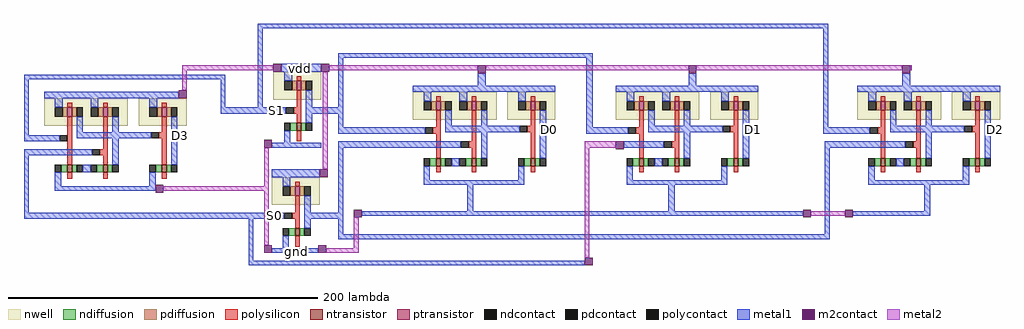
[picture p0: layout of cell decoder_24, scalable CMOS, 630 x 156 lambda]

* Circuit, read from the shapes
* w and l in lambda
.subckt decoder_24 D0 D1 D2 D3 S0 S1 gnd vdd
M1 n1 S1 gnd VSUBS nfet w=5 l=3
M2 n2 S0 n1 VSUBS nfet w=5 l=3
M3 D3 n2 gnd VSUBS nfet w=5 l=3
M4 n3 S0 gnd VSUBS nfet w=5 l=3
M5 n4 S1 gnd VSUBS nfet w=5 l=3
M6 n5 n4 gnd VSUBS nfet w=5 l=3
M7 n6 n3 n5 VSUBS nfet w=5 l=3
M8 D0 n6 gnd VSUBS nfet w=5 l=3
M9 n7 n4 gnd VSUBS nfet w=5 l=3
M10 n8 S0 n7 VSUBS nfet w=5 l=3
M11 D1 n8 gnd VSUBS nfet w=5 l=3
M12 n9 S1 gnd VSUBS nfet w=5 l=3
M13 n10 n3 n9 VSUBS nfet w=5 l=3
M14 D2 n10 gnd VSUBS nfet w=5 l=3
M15 n2 S1 vdd n11 pfet w=6 l=3
M16 n2 S0 vdd n11 pfet w=6 l=3
M17 D3 n2 vdd n12 pfet w=6 l=3
M18 n3 S0 vdd n13 pfet w=6 l=3
M19 n4 S1 vdd n14 pfet w=6 l=3
M20 n6 n4 vdd n15 pfet w=6 l=3
M21 n6 n3 vdd n15 pfet w=6 l=3
M22 D0 n6 vdd n16 pfet w=6 l=3
M23 n8 n4 vdd n17 pfet w=6 l=3
M24 n8 S0 vdd n17 pfet w=6 l=3
M25 D1 n8 vdd n18 pfet w=6 l=3
M26 n10 S1 vdd n19 pfet w=6 l=3
M27 n10 n3 vdd n19 pfet w=6 l=3
M28 D2 n10 vdd n20 pfet w=6 l=3
.ends

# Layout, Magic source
magic
tech scmos
<< nwell >>
rect 174 157 228 175
rect 235 157 266 175
rect 322 174 353 192
rect 412 161 466 179
rect 473 161 504 179
rect 543 161 597 179
rect 604 161 635 179
rect 699 161 753 179
rect 760 161 791 179
rect 321 106 352 124
<< ntransistor >>
rect 337 154 340 159
rect 189 127 192 132
rect 212 127 215 132
rect 250 127 253 132
rect 427 131 430 136
rect 450 131 453 136
rect 488 131 491 136
rect 558 131 561 136
rect 581 131 584 136
rect 619 131 622 136
rect 714 131 717 136
rect 737 131 740 136
rect 775 131 778 136
rect 336 86 339 91
<< ptransistor >>
rect 337 180 340 186
rect 189 163 192 169
rect 212 163 215 169
rect 250 163 253 169
rect 427 167 430 173
rect 450 167 453 173
rect 488 167 491 173
rect 558 167 561 173
rect 581 167 584 173
rect 619 167 622 173
rect 714 167 717 173
rect 737 167 740 173
rect 775 167 778 173
rect 336 112 339 118
<< ndiffusion >>
rect 333 154 337 159
rect 340 154 343 159
rect 185 127 189 132
rect 192 127 195 132
rect 208 127 212 132
rect 215 127 218 132
rect 246 127 250 132
rect 253 127 256 132
rect 423 131 427 136
rect 430 131 433 136
rect 446 131 450 136
rect 453 131 456 136
rect 484 131 488 136
rect 491 131 494 136
rect 554 131 558 136
rect 561 131 564 136
rect 577 131 581 136
rect 584 131 587 136
rect 615 131 619 136
rect 622 131 625 136
rect 710 131 714 136
rect 717 131 720 136
rect 733 131 737 136
rect 740 131 743 136
rect 771 131 775 136
rect 778 131 781 136
rect 332 86 336 91
rect 339 86 342 91
<< pdiffusion >>
rect 334 180 337 186
rect 340 180 343 186
rect 186 163 189 169
rect 192 163 195 169
rect 209 163 212 169
rect 215 163 218 169
rect 247 163 250 169
rect 253 163 256 169
rect 424 167 427 173
rect 430 167 433 173
rect 447 167 450 173
rect 453 167 456 173
rect 485 167 488 173
rect 491 167 494 173
rect 555 167 558 173
rect 561 167 564 173
rect 578 167 581 173
rect 584 167 587 173
rect 616 167 619 173
rect 622 167 625 173
rect 711 167 714 173
rect 717 167 720 173
rect 734 167 737 173
rect 740 167 743 173
rect 772 167 775 173
rect 778 167 781 173
rect 333 112 336 118
rect 339 112 342 118
<< ndcontact >>
rect 329 154 333 159
rect 343 154 347 159
rect 181 127 185 132
rect 195 127 199 132
rect 204 127 208 132
rect 218 127 222 132
rect 242 127 246 132
rect 256 127 260 132
rect 419 131 423 136
rect 433 131 437 136
rect 442 131 446 136
rect 456 131 460 136
rect 480 131 484 136
rect 494 131 498 136
rect 550 131 554 136
rect 564 131 568 136
rect 573 131 577 136
rect 587 131 591 136
rect 611 131 615 136
rect 625 131 629 136
rect 706 131 710 136
rect 720 131 724 136
rect 729 131 733 136
rect 743 131 747 136
rect 767 131 771 136
rect 781 131 785 136
rect 328 86 332 91
rect 342 86 346 91
<< pdcontact >>
rect 329 180 334 186
rect 343 180 347 186
rect 181 163 186 169
rect 195 163 199 169
rect 204 163 209 169
rect 218 163 222 169
rect 242 163 247 169
rect 256 163 260 169
rect 419 167 424 173
rect 433 167 437 173
rect 442 167 447 173
rect 456 167 460 173
rect 480 167 485 173
rect 494 167 498 173
rect 550 167 555 173
rect 564 167 568 173
rect 573 167 578 173
rect 587 167 591 173
rect 611 167 616 173
rect 625 167 629 173
rect 706 167 711 173
rect 720 167 724 173
rect 729 167 734 173
rect 743 167 747 173
rect 767 167 772 173
rect 781 167 785 173
rect 328 112 333 118
rect 342 112 346 118
<< polysilicon >>
rect 337 186 340 189
rect 189 169 192 172
rect 212 169 215 172
rect 250 169 253 172
rect 337 169 340 180
rect 427 173 430 176
rect 450 173 453 176
rect 488 173 491 176
rect 558 173 561 176
rect 581 173 584 176
rect 619 173 622 176
rect 714 173 717 176
rect 737 173 740 176
rect 775 173 778 176
rect 335 165 340 169
rect 189 132 192 163
rect 212 142 215 163
rect 250 153 253 163
rect 337 159 340 165
rect 427 156 430 167
rect 248 149 253 153
rect 210 138 215 142
rect 212 132 215 138
rect 250 132 253 149
rect 337 147 340 154
rect 425 152 430 156
rect 427 136 430 152
rect 450 147 453 167
rect 488 157 491 167
rect 486 153 491 157
rect 558 156 561 167
rect 448 143 453 147
rect 450 136 453 143
rect 488 136 491 153
rect 556 152 561 156
rect 558 136 561 152
rect 581 147 584 167
rect 619 157 622 167
rect 617 153 622 157
rect 714 156 717 167
rect 579 143 584 147
rect 581 136 584 143
rect 619 136 622 153
rect 712 152 717 156
rect 714 136 717 152
rect 737 147 740 167
rect 775 157 778 167
rect 773 153 778 157
rect 735 143 740 147
rect 737 136 740 143
rect 775 136 778 153
rect 427 127 430 131
rect 450 127 453 131
rect 488 127 491 131
rect 558 127 561 131
rect 581 127 584 131
rect 619 127 622 131
rect 714 127 717 131
rect 737 127 740 131
rect 775 127 778 131
rect 189 123 192 127
rect 212 123 215 127
rect 250 123 253 127
rect 336 118 339 121
rect 336 101 339 112
rect 334 97 339 101
rect 336 91 339 97
rect 336 79 339 86
<< polycontact >>
rect 330 165 335 169
rect 184 147 189 151
rect 243 149 248 153
rect 205 138 210 142
rect 420 152 425 156
rect 481 153 486 157
rect 443 143 448 147
rect 551 152 556 156
rect 612 153 617 157
rect 574 143 579 147
rect 707 152 712 156
rect 768 153 773 157
rect 730 143 735 147
rect 329 97 334 101
<< metal1 >>
rect 312 220 680 223
rect 161 187 291 190
rect 161 151 164 187
rect 174 175 261 179
rect 181 169 186 175
rect 204 169 209 175
rect 242 169 247 175
rect 288 169 291 187
rect 312 169 315 220
rect 364 201 528 204
rect 327 192 353 197
rect 329 186 334 192
rect 343 169 347 180
rect 364 169 367 201
rect 454 183 459 191
rect 412 179 504 183
rect 288 165 330 169
rect 343 165 367 169
rect 419 173 424 179
rect 442 173 447 179
rect 480 173 485 179
rect 195 153 199 163
rect 218 153 222 163
rect 256 153 260 163
rect 343 159 347 165
rect 364 156 367 165
rect 433 157 437 167
rect 456 157 460 167
rect 494 157 498 167
rect 161 147 184 151
rect 195 149 243 153
rect 256 149 266 153
rect 161 138 205 142
rect 161 101 164 138
rect 218 132 222 149
rect 256 132 260 149
rect 329 146 333 154
rect 364 152 420 156
rect 433 153 481 157
rect 494 153 504 157
rect 524 156 528 201
rect 590 183 595 191
rect 543 179 635 183
rect 550 173 555 179
rect 573 173 578 179
rect 611 173 616 179
rect 564 157 568 167
rect 587 157 591 167
rect 625 157 629 167
rect 321 143 353 146
rect 364 143 443 147
rect 199 127 204 132
rect 181 118 185 127
rect 242 118 246 127
rect 321 124 352 129
rect 181 115 246 118
rect 328 118 333 124
rect 342 101 346 112
rect 364 101 367 143
rect 456 136 460 153
rect 494 136 498 153
rect 524 152 551 156
rect 564 153 612 157
rect 625 153 635 157
rect 677 156 680 220
rect 728 183 733 191
rect 699 179 791 183
rect 706 173 711 179
rect 729 173 734 179
rect 767 173 772 179
rect 720 157 724 167
rect 743 157 747 167
rect 781 157 785 167
rect 548 143 574 147
rect 587 136 591 153
rect 625 136 629 153
rect 677 152 707 156
rect 720 153 768 157
rect 781 153 791 157
rect 437 131 442 136
rect 568 131 573 136
rect 678 143 730 147
rect 419 122 423 131
rect 480 122 484 131
rect 419 119 484 122
rect 550 122 554 131
rect 611 122 615 131
rect 550 119 615 122
rect 161 97 329 101
rect 342 97 367 101
rect 447 102 451 119
rect 577 102 581 119
rect 379 99 664 102
rect 306 70 309 97
rect 342 91 346 97
rect 364 87 367 97
rect 678 87 681 143
rect 743 136 747 153
rect 781 136 785 153
rect 724 131 729 136
rect 706 122 710 131
rect 767 122 771 131
rect 706 119 771 122
rect 742 102 746 119
rect 696 99 746 102
rect 328 78 332 86
rect 364 84 681 87
rect 321 75 351 78
rect 306 67 523 70
<< m2contact >>
rect 261 175 266 180
rect 322 192 327 197
rect 353 192 358 197
rect 454 191 459 196
rect 316 143 321 148
rect 590 191 595 196
rect 352 124 357 129
rect 246 114 251 119
rect 728 191 733 196
rect 543 142 548 147
rect 374 98 379 103
rect 664 98 669 103
rect 691 98 696 103
rect 316 75 321 80
rect 351 75 356 80
rect 523 67 528 72
<< metal2 >>
rect 263 193 322 196
rect 263 180 266 193
rect 358 193 454 196
rect 316 118 319 143
rect 354 129 357 192
rect 459 193 590 196
rect 595 193 728 196
rect 733 193 734 196
rect 523 143 543 147
rect 251 115 319 118
rect 316 80 319 115
rect 374 78 377 98
rect 356 75 377 78
rect 523 72 526 143
rect 669 99 691 102
<< labels >>
rlabel metal1 338 193 341 195 1 vdd
rlabel metal1 335 75 339 77 1 gnd
rlabel metal1 260 150 264 152 1 D3
rlabel metal1 786 154 790 156 7 D2
rlabel metal1 630 154 634 156 1 D1
rlabel metal1 498 154 502 156 1 D0
rlabel metal1 321 98 325 100 1 S0
rlabel metal1 322 166 326 168 1 S1
<< end >>
